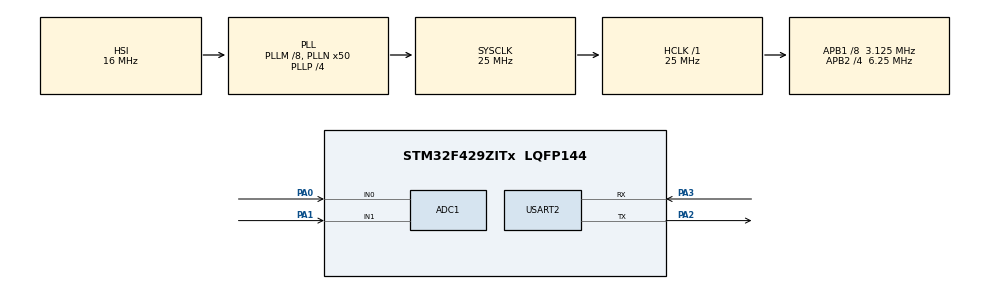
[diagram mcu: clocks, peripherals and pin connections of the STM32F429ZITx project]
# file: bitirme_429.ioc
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ADC1.Channel-0\#ChannelRegularConversion=ADC_CHANNEL_0
ADC1.Channel-1\#ChannelRegularConversion=ADC_CHANNEL_0
ADC1.ContinuousConvMode=ENABLE
ADC1.DMAContinuousRequests=ENABLE
ADC1.NbrOfConversion=2
ADC1.NbrOfConversionFlag=1
ADC1.Rank-0\#ChannelRegularConversion=1
ADC1.Rank-1\#ChannelRegularConversion=2
ADC1.SamplingTime-0\#ChannelRegularConversion=ADC_SAMPLETIME_3CYCLES
ADC1.SamplingTime-1\#ChannelRegularConversion=ADC_SAMPLETIME_3CYCLES
ADC1.ScanConvMode=ENABLE
ADC1.master=1
Dma.ADC1.0.Direction=DMA_PERIPH_TO_MEMORY
Dma.ADC1.0.FIFOMode=DMA_FIFOMODE_DISABLE
Dma.ADC1.0.Instance=DMA2_Stream0
Dma.ADC1.0.MemDataAlignment=DMA_MDATAALIGN_HALFWORD
Dma.ADC1.0.MemInc=DMA_MINC_ENABLE
Dma.ADC1.0.Mode=DMA_CIRCULAR
Dma.ADC1.0.PeriphDataAlignment=DMA_PDATAALIGN_HALFWORD
Dma.ADC1.0.PeriphInc=DMA_PINC_DISABLE
Dma.ADC1.0.Priority=DMA_PRIORITY_VERY_HIGH
Dma.Request0=ADC1
Mcu.Family=STM32F4
Mcu.Name=STM32F429ZITx
Mcu.Package=LQFP144
NVIC.DMA2_Stream0_IRQn=true\:0\:0\:false\:false\:true\:false\:true
NVIC.PriorityGroup=NVIC_PRIORITYGROUP_0
PA0/WKUP.Signal=ADCx_IN0
PA1.Signal=ADCx_IN1
PA2.Mode=Asynchronous
PA2.Signal=USART2_TX
PA3.Mode=Asynchronous
PA3.Signal=USART2_RX
PH0/OSC_IN.Mode=HSE-External-Oscillator
PH0/OSC_IN.Signal=RCC_OSC_IN
PH1/OSC_OUT.Mode=HSE-External-Oscillator
PH1/OSC_OUT.Signal=RCC_OSC_OUT
ProjectManager.HeapSize=0x200
ProjectManager.StackSize=0x400
ProjectManager.TargetToolchain=STM32CubeIDE
RCC.48MHZClocksFreq_Value=14285714.285714285
RCC.AHBFreq_Value=25000000
RCC.APB1CLKDivider=RCC_HCLK_DIV8
RCC.APB1Freq_Value=3125000
RCC.APB1TimFreq_Value=6250000
RCC.APB2CLKDivider=RCC_HCLK_DIV4
RCC.APB2Freq_Value=6250000
RCC.APB2TimFreq_Value=12500000
RCC.CortexFreq_Value=25000000
RCC.HCLKFreq_Value=25000000
RCC.HSE_VALUE=8000000
RCC.HSI_VALUE=16000000
RCC.LSE_VALUE=32768
RCC.PLLM=8
RCC.PLLN=50
RCC.PLLP=RCC_PLLP_DIV4
RCC.PLLQ=7
RCC.SYSCLKFreq_VALUE=25000000
RCC.SYSCLKSource=RCC_SYSCLKSOURCE_PLLCLK
RCC.VCOOutputFreq_Value=100000000
SH.ADCx_IN0.0=ADC1_IN0,IN0
SH.ADCx_IN1.0=ADC1_IN1,IN1
USART2.VirtualMode=VM_ASYNC
board=STM32F429I-DISC1

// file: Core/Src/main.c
/* USER CODE BEGIN Header */
/**
  ******************************************************************************
  * @file           : main.c
  * @brief          : Main program body
  ******************************************************************************
  * @attention
  *
  * <h2><center>&copy; Copyright (c) 2019 STMicroelectronics.
  * All rights reserved.</center></h2>
  *
  * This software component is licensed by ST under BSD 3-Clause license,
  * the "License"; You may not use this file except in compliance with the
  * License. You may obtain a copy of the License at:
  *                        opensource.org/licenses/BSD-3-Clause
  *
  ******************************************************************************
  */
/* USER CODE END Header */

#include "main.h"

/* USER CODE BEGIN Includes */
#include "stdio.h"
/* USER CODE END Includes */

ADC_HandleTypeDef hadc1;
DMA_HandleTypeDef hdma_adc1;

UART_HandleTypeDef huart2;

void SystemClock_Config(void);
static void MX_GPIO_Init(void);
static void MX_DMA_Init(void);
static void MX_ADC1_Init(void);
static void MX_USART2_UART_Init(void);

/* USER CODE BEGIN 0 */
#define BUFF_SIZE 512

uint8_t convEnd = 0;			//conv end flag

float32_t adcBuff[BUFF_SIZE*2] = {0};		//to store converted values
//uint16_t adcData[BUFF_SIZE] = {0};

float32_t adcBuf1[BUFF_SIZE] = {0};
float32_t adcBuf2[BUFF_SIZE] = {0};

float32_t fftResult[BUFF_SIZE] = {0};
float32_t fftGenlik[BUFF_SIZE] = {0};

//short compareArr[BUFF_SIZE/2] = {0};
//long sum = 0;

void HAL_ADC_ConvCpltCallback(ADC_HandleTypeDef* hadc)
{
	if(hadc == &hadc1)								//check which adc made interrupt
	{
		for(int i = 0,j=0; i < BUFF_SIZE; i+=2,j++)	{

			adcBuf1[j] = adcBuff[i];
			adcBuf2[j] = adcBuff[i+1];
			//adcData[i] = adcBuff[i];				//copy data to second buffer
		}
		convEnd = 1;								//set conv end flag
	}
}

/*
void compare(){
	sum = 0;
	for(int i = 0,j = 0;i < BUFF_SIZE;i+=2,j++){

		int temp = adcData[i] - adcData[i+1];
		if(temp > 4095){
			sum +=  compareArr[j] = (temp - 65536);
		}
		else{
			sum +=  compareArr[j] = temp;
		}
	}
	sum /= BUFF_SIZE/2;
}
*/

void fft(){
	arm_rfft_instance_f32 S;
	arm_cfft_radix4_instance_f32 S_CFFT;
	arm_rfft_init_f32(&S, &S_CFFT, BUFF_SIZE, 0, 1);

	// fft hesapla
	arm_rfft_f32(&S, adcBuf1 , fftResult);

	// genlikleri hesapla
	arm_cmplx_mag_f32(fftResult, fftGenlik, BUFF_SIZE);
	printf("deneme");
	 // Maksimum genlik ve indexi hesaplama
	 //arm_max_f32(buffer_output_mag, 512, &maxvalue, &maxvalueindex);
}

int _write(int file, char *ptr, int len)
{
  /* Implement your write code here, this is used by puts and printf for example */
  int i=0;
  for(i=0 ; i<len ; i++)
    ITM_SendChar((*ptr++));
  return len;
}

/* USER CODE END 0 */

int main(void)
{

  /* MCU Configuration--------------------------------------------------------*/

  /* Reset of all peripherals, Initializes the Flash interface and the Systick. */
  HAL_Init();

  /* Configure the system clock */
  SystemClock_Config();

  /* Initialize all configured peripherals */
  MX_GPIO_Init();
  MX_DMA_Init();
  MX_ADC1_Init();
  MX_USART2_UART_Init();
  /* USER CODE BEGIN 2 */
  HAL_ADC_Start_DMA(&hadc1,(uint32_t*)adcBuff,BUFF_SIZE);
  /* USER CODE END 2 */

  /* Infinite loop */
  while (1)
  {

    /* USER CODE BEGIN 3 */
	  //--------------------------------------------------------------------------------------------//
	    HAL_UART_Transmit(&huart2,(uint8_t *)mrv,strlen(mrv),10);
	//		counter[0] = (counter[0]++) %255;
	//		HAL_UART_Transmit(&huart2,(uint8_t *)counter,sizeof(counter),10);

	//--------------------------------------------------------------------------------------------//
	  if(convEnd == 1){					//check is conv completed
		  //compare();
		  fft();
		  convEnd = 0;
	  }
  }
  /* USER CODE END 3 */
}

void SystemClock_Config(void)
{
  RCC_OscInitTypeDef RCC_OscInitStruct = {0};
  RCC_ClkInitTypeDef RCC_ClkInitStruct = {0};

  /** Configure the main internal regulator output voltage
  */
  __HAL_RCC_PWR_CLK_ENABLE();
  __HAL_PWR_VOLTAGESCALING_CONFIG(PWR_REGULATOR_VOLTAGE_SCALE3);
  /** Initializes the CPU, AHB and APB busses clocks
  */
  RCC_OscInitStruct.OscillatorType = RCC_OSCILLATORTYPE_HSI;
  RCC_OscInitStruct.HSIState = RCC_HSI_ON;
  RCC_OscInitStruct.HSICalibrationValue = RCC_HSICALIBRATION_DEFAULT;
  RCC_OscInitStruct.PLL.PLLState = RCC_PLL_ON;
  RCC_OscInitStruct.PLL.PLLSource = RCC_PLLSOURCE_HSI;
  RCC_OscInitStruct.PLL.PLLM = 8;
  RCC_OscInitStruct.PLL.PLLN = 50;
  RCC_OscInitStruct.PLL.PLLP = RCC_PLLP_DIV4;
  RCC_OscInitStruct.PLL.PLLQ = 7;
  if (HAL_RCC_OscConfig(&RCC_OscInitStruct) != HAL_OK)
  {
    Error_Handler();
  }
  /** Initializes the CPU, AHB and APB busses clocks
  */
  RCC_ClkInitStruct.ClockType = RCC_CLOCKTYPE_HCLK|RCC_CLOCKTYPE_SYSCLK
                              |RCC_CLOCKTYPE_PCLK1|RCC_CLOCKTYPE_PCLK2;
  RCC_ClkInitStruct.SYSCLKSource = RCC_SYSCLKSOURCE_PLLCLK;
  RCC_ClkInitStruct.AHBCLKDivider = RCC_SYSCLK_DIV1;
  RCC_ClkInitStruct.APB1CLKDivider = RCC_HCLK_DIV8;
  RCC_ClkInitStruct.APB2CLKDivider = RCC_HCLK_DIV4;

  if (HAL_RCC_ClockConfig(&RCC_ClkInitStruct, FLASH_LATENCY_0) != HAL_OK)
  {
    Error_Handler();
  }
}

static void MX_ADC1_Init(void)
{

  ADC_ChannelConfTypeDef sConfig = {0};

  /** Configure the global features of the ADC (Clock, Resolution, Data Alignment and number of conversion)
  */
  hadc1.Instance = ADC1;
  hadc1.Init.ClockPrescaler = ADC_CLOCK_SYNC_PCLK_DIV2;
  hadc1.Init.Resolution = ADC_RESOLUTION_12B;
  hadc1.Init.ScanConvMode = ENABLE;
  hadc1.Init.ContinuousConvMode = ENABLE;
  hadc1.Init.DiscontinuousConvMode = DISABLE;
  hadc1.Init.ExternalTrigConvEdge = ADC_EXTERNALTRIGCONVEDGE_NONE;
  hadc1.Init.ExternalTrigConv = ADC_SOFTWARE_START;
  hadc1.Init.DataAlign = ADC_DATAALIGN_RIGHT;
  hadc1.Init.NbrOfConversion = 2;
  hadc1.Init.DMAContinuousRequests = ENABLE;
  hadc1.Init.EOCSelection = ADC_EOC_SINGLE_CONV;
  if (HAL_ADC_Init(&hadc1) != HAL_OK)
  {
    Error_Handler();
  }
  /** Configure for the selected ADC regular channel its corresponding rank in the sequencer and its sample time.
  */
  sConfig.Channel = ADC_CHANNEL_0;
  sConfig.Rank = 1;
  sConfig.SamplingTime = ADC_SAMPLETIME_3CYCLES;
  if (HAL_ADC_ConfigChannel(&hadc1, &sConfig) != HAL_OK)
  {
    Error_Handler();
  }
  /** Configure for the selected ADC regular channel its corresponding rank in the sequencer and its sample time.
  */
  sConfig.Rank = 2;
  if (HAL_ADC_ConfigChannel(&hadc1, &sConfig) != HAL_OK)
  {
    Error_Handler();
  }

}

static void MX_USART2_UART_Init(void)
{

  huart2.Instance = USART2;
  huart2.Init.BaudRate = 115200;
  huart2.Init.WordLength = UART_WORDLENGTH_8B;
  huart2.Init.StopBits = UART_STOPBITS_1;
  huart2.Init.Parity = UART_PARITY_NONE;
  huart2.Init.Mode = UART_MODE_TX_RX;
  huart2.Init.HwFlowCtl = UART_HWCONTROL_NONE;
  huart2.Init.OverSampling = UART_OVERSAMPLING_16;
  if (HAL_UART_Init(&huart2) != HAL_OK)
  {
    Error_Handler();
  }

}

static void MX_DMA_Init(void)
{

  /* DMA controller clock enable */
  __HAL_RCC_DMA2_CLK_ENABLE();

  /* DMA interrupt init */
  /* DMA2_Stream0_IRQn interrupt configuration */
  HAL_NVIC_SetPriority(DMA2_Stream0_IRQn, 0, 0);
  HAL_NVIC_EnableIRQ(DMA2_Stream0_IRQn);

}

static void MX_GPIO_Init(void)
{

  /* GPIO Ports Clock Enable */
  __HAL_RCC_GPIOH_CLK_ENABLE();
  __HAL_RCC_GPIOA_CLK_ENABLE();

}

void Error_Handler(void)
{
}

/************************ (C) COPYRIGHT STMicroelectronics *****END OF FILE****/
